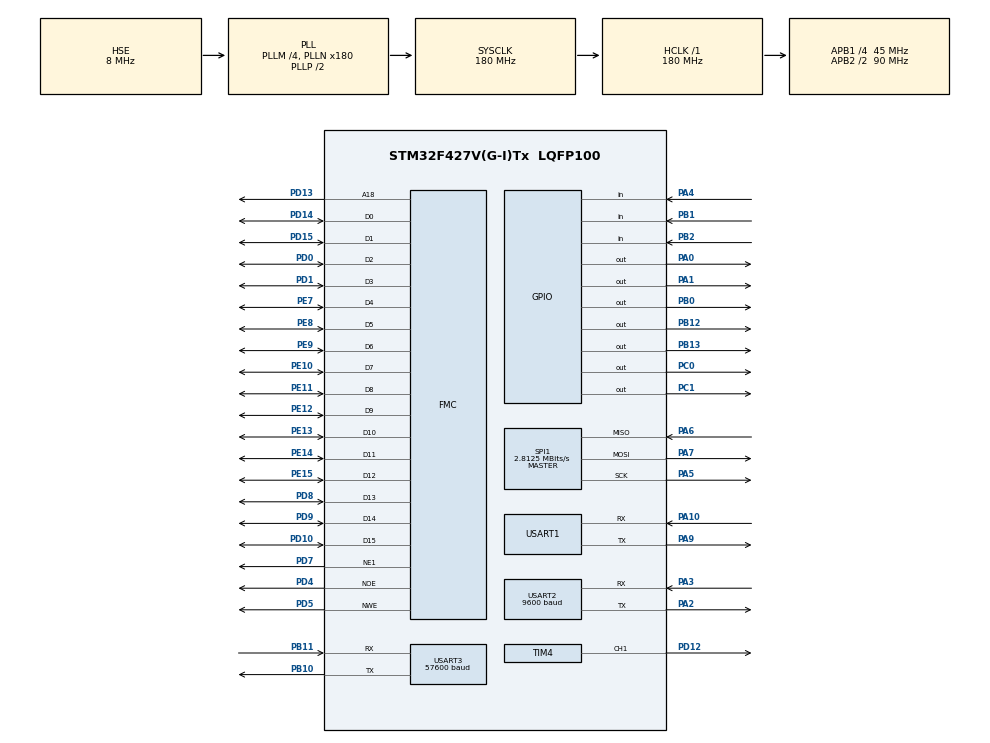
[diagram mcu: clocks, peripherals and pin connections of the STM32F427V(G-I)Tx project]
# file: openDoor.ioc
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Dma.Request0=USART2_TX
Dma.Request1=USART2_RX
Dma.USART2_RX.1.Direction=DMA_PERIPH_TO_MEMORY
Dma.USART2_RX.1.FIFOMode=DMA_FIFOMODE_DISABLE
Dma.USART2_RX.1.Instance=DMA1_Stream5
Dma.USART2_RX.1.MemDataAlignment=DMA_MDATAALIGN_BYTE
Dma.USART2_RX.1.MemInc=DMA_MINC_ENABLE
Dma.USART2_RX.1.Mode=DMA_NORMAL
Dma.USART2_RX.1.PeriphDataAlignment=DMA_PDATAALIGN_BYTE
Dma.USART2_RX.1.PeriphInc=DMA_PINC_DISABLE
Dma.USART2_RX.1.Priority=DMA_PRIORITY_LOW
Dma.USART2_TX.0.Direction=DMA_MEMORY_TO_PERIPH
Dma.USART2_TX.0.FIFOMode=DMA_FIFOMODE_DISABLE
Dma.USART2_TX.0.Instance=DMA1_Stream6
Dma.USART2_TX.0.MemDataAlignment=DMA_MDATAALIGN_BYTE
Dma.USART2_TX.0.MemInc=DMA_MINC_ENABLE
Dma.USART2_TX.0.Mode=DMA_NORMAL
Dma.USART2_TX.0.PeriphDataAlignment=DMA_PDATAALIGN_BYTE
Dma.USART2_TX.0.PeriphInc=DMA_PINC_DISABLE
Dma.USART2_TX.0.Priority=DMA_PRIORITY_LOW
FMC.AddressSetupTime1=4
FMC.BusTurnAroundDuration1=4
FMC.DataSetupTime1=4
Mcu.Family=STM32F4
Mcu.Name=STM32F427V(G-I)Tx
Mcu.Package=LQFP100
NVIC.DMA1_Stream5_IRQn=true\:0\:0\:false\:false\:true\:false\:true\:true
NVIC.DMA1_Stream6_IRQn=true\:0\:0\:false\:false\:true\:false\:true\:true
NVIC.PriorityGroup=NVIC_PRIORITYGROUP_4
NVIC.TIM2_IRQn=true\:0\:0\:false\:false\:true\:true\:true\:true
NVIC.USART1_IRQn=true\:0\:0\:false\:false\:true\:true\:true\:true
NVIC.USART2_IRQn=true\:0\:0\:false\:false\:true\:true\:true\:true
NVIC.USART3_IRQn=true\:0\:0\:false\:false\:true\:true\:true\:true
PA0/WKUP.Signal=GPIO_Output
PA1.PinState=GPIO_PIN_SET
PA1.Signal=GPIO_Output
PA10.Mode=Asynchronous
PA10.Signal=USART1_RX
PA13.Mode=Serial_Wire
PA13.Signal=SYS_JTMS-SWDIO
PA14.Mode=Serial_Wire
PA14.Signal=SYS_JTCK-SWCLK
PA2.Mode=Asynchronous
PA2.Signal=USART2_TX
PA3.Mode=Asynchronous
PA3.Signal=USART2_RX
PA4.GPIO_PuPd=GPIO_PULLUP
PA4.Signal=GPIO_Input
PA5.Mode=Full_Duplex_Master
PA5.Signal=SPI1_SCK
PA6.Mode=Full_Duplex_Master
PA6.Signal=SPI1_MISO
PA7.Mode=Full_Duplex_Master
PA7.Signal=SPI1_MOSI
PA9.Mode=Asynchronous
PA9.Signal=USART1_TX
PB0.GPIO_Speed=GPIO_SPEED_FREQ_VERY_HIGH
PB0.Signal=GPIO_Output
PB1.GPIO_PuPd=GPIO_PULLUP
PB1.Signal=GPIO_Input
PB10.Mode=Asynchronous
PB10.Signal=USART3_TX
PB11.Mode=Asynchronous
PB11.Signal=USART3_RX
PB12.Signal=GPIO_Output
PB13.Signal=GPIO_Output
PB2/BOOT1.GPIO_PuPd=GPIO_PULLUP
PB2/BOOT1.Signal=GPIO_Input
PC0.GPIO_Speed=GPIO_SPEED_FREQ_HIGH
PC0.PinState=GPIO_PIN_SET
PC0.Signal=GPIO_Output
PC1.GPIO_Speed=GPIO_SPEED_FREQ_HIGH
PC1.PinState=GPIO_PIN_SET
PC1.Signal=GPIO_Output
PD0.Mode=16b-d1
PD0.Signal=FMC_D2
PD1.Mode=16b-d1
PD1.Signal=FMC_D3
PD10.Mode=16b-d1
PD10.Signal=FMC_D15
PD12.Signal=S_TIM4_CH1
PD13.Mode=A18_1
PD13.Signal=FMC_A18
PD14.Mode=16b-d1
PD14.Signal=FMC_D0
PD15.Mode=16b-d1
PD15.Signal=FMC_D1
PD4.Mode=Lcd1
PD4.Signal=FMC_NOE
PD5.Mode=Lcd1
PD5.Signal=FMC_NWE
PD7.Mode=NorPsramChipSelect1_1
PD7.Signal=FMC_NE1
PD8.Mode=16b-d1
PD8.Signal=FMC_D13
PD9.Mode=16b-d1
PD9.Signal=FMC_D14
PE10.Mode=16b-d1
PE10.Signal=FMC_D7
PE11.Mode=16b-d1
PE11.Signal=FMC_D8
PE12.Mode=16b-d1
PE12.Signal=FMC_D9
PE13.Mode=16b-d1
PE13.Signal=FMC_D10
PE14.Mode=16b-d1
PE14.Signal=FMC_D11
PE15.Mode=16b-d1
PE15.Signal=FMC_D12
PE7.Mode=16b-d1
PE7.Signal=FMC_D4
PE8.Mode=16b-d1
PE8.Signal=FMC_D5
PE9.Mode=16b-d1
PE9.Signal=FMC_D6
PH0/OSC_IN.Mode=HSE-External-Oscillator
PH0/OSC_IN.Signal=RCC_OSC_IN
PH1/OSC_OUT.Mode=HSE-External-Oscillator
PH1/OSC_OUT.Signal=RCC_OSC_OUT
ProjectManager.HeapSize=0x200
ProjectManager.StackSize=0x400
ProjectManager.TargetToolchain=STM32CubeIDE
RCC.48MHZClocksFreq_Value=90000000
RCC.AHBFreq_Value=180000000
RCC.APB1CLKDivider=RCC_HCLK_DIV4
RCC.APB1Freq_Value=45000000
RCC.APB1TimFreq_Value=90000000
RCC.APB2CLKDivider=RCC_HCLK_DIV2
RCC.APB2Freq_Value=90000000
RCC.APB2TimFreq_Value=180000000
RCC.CortexFreq_Value=180000000
RCC.HCLKFreq_Value=180000000
RCC.HSE_VALUE=8000000
RCC.HSI_VALUE=16000000
RCC.LSE_VALUE=32768
RCC.PLLM=4
RCC.PLLN=180
RCC.PLLSourceVirtual=RCC_PLLSOURCE_HSE
RCC.SYSCLKFreq_VALUE=180000000
RCC.SYSCLKSource=RCC_SYSCLKSOURCE_PLLCLK
RCC.VCOOutputFreq_Value=360000000
SH.S_TIM4_CH1.0=TIM4_CH1,PWM Generation1 CH1
SPI1.BaudRatePrescaler=SPI_BAUDRATEPRESCALER_32
SPI1.CalculateBaudRate=2.8125 MBits/s
SPI1.Direction=SPI_DIRECTION_2LINES
SPI1.Mode=SPI_MODE_MASTER
SPI1.VirtualType=VM_MASTER
TIM2.Period=9000-1
TIM2.Prescaler=10-1
TIM4.Channel-PWM\ Generation1\ CH1=TIM_CHANNEL_1
TIM4.Period=200-1
TIM4.Prescaler=9000-1
USART1.VirtualMode=VM_ASYNC
USART2.BaudRate=9600
USART2.VirtualMode=VM_ASYNC
USART3.BaudRate=57600
USART3.VirtualMode=VM_ASYNC
VP_TIM2_VS_ClockSourceINT.Mode=Internal
VP_TIM4_VS_ClockSourceINT.Mode=Internal
board=custom

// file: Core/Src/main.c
/* USER CODE BEGIN Header */
/**
  ******************************************************************************
  * @file           : main.c
  * @brief          : Main program body
  ******************************************************************************
  * @attention
  *
  * <h2><center>&copy; Copyright (c) 2023 STMicroelectronics.
  * All rights reserved.</center></h2>
  *
  * This software component is licensed by ST under BSD 3-Clause license,
  * the "License"; You may not use this file except in compliance with the
  * License. You may obtain a copy of the License at:
  *                        opensource.org/licenses/BSD-3-Clause
  *
  ******************************************************************************
  */
/* USER CODE END Header */
#include "main.h"
#include "dma.h"
#include "spi.h"
#include "tim.h"
#include "usart.h"
#include "gpio.h"
#include "fmc.h"

/* USER CODE BEGIN Includes */
#include "lcd.h"
#include "touch.h"
#include "Scheduler.h"
#include "ui.h"
#include "usartMy.h"
#include "delay.h"
#include "as608.h"
#include "string.h"
#include "stdio.h"
#include "RC522.h"
#include "funHandle.h"
/* USER CODE END Includes */

void SystemClock_Config(void);

int main(void)
{
  /* USER CODE BEGIN 1 */
    uint8_t readUid[5];
    uint8_t UID[5] = {0xFB, 0x29, 0x0B, 0x0A};//自己的卡号，可以通过串口打印通过下面读取到的打印到上位机，再把那个读取的卡号填入数组
  /* USER CODE END 1 */

  /* MCU Configuration--------------------------------------------------------*/

  /* Reset of all peripherals, Initializes the Flash interface and the Systick. */
  HAL_Init();

  /* USER CODE BEGIN Init */
    delay_init(180);                                    //systick初始化
  /* USER CODE END Init */

  /* Configure the system clock */
  SystemClock_Config();

  /* Initialize all configured peripherals */
  MX_GPIO_Init();
  MX_DMA_Init();
  MX_TIM2_Init();
  MX_USART1_UART_Init();
  MX_USART3_UART_Init();
  MX_USART2_UART_Init();
  MX_FMC_Init();
  MX_SPI1_Init();
  MX_TIM4_Init();
  /* USER CODE BEGIN 2 */

    /* USER CODE BEGIN 2 */

    //usart_printf(&huart1, "AS608指纹模块测试开始\r\n");
    HAL_GPIO_WritePin(GPIOA, GPIO_PIN_1, GPIO_PIN_RESET);
    HAL_TIM_Base_Start_IT(&htim2); //1ms
    //开启通道1
    HAL_TIM_PWM_Start(&htim4, TIM_CHANNEL_1);
    //舵机初始化
    TIM4->CCR1 = 10;
    HAL_UART_Receive_IT(&huart1, (uint8_t *) &huart1_buf, 1);
    HAL_UART_Receive_DMA(&huart2, (uint8_t *) &huart2_buf, 1);
    HAL_UART_Receive_IT(&huart3, (uint8_t *) &huart3_buf, 1);
    LCD_Init();      //LCD初始化
    LCD_Clear(WHITE);//清屏 LIGHTGREEN
    tp_dev.init();     //触摸屏初始化
    Scheduler_Setup();      //调度器初始化

    if (!as608_init()) {
        // usart_printf(&huart1, "AS608指纹模块初始化成功\r\n");
        LCD_ShowString(50, 20, (uint8_t *) "指纹模块初始化成功", RED, WHITE); //显示清屏区域
    } else {
        LCD_Fill(0, 20, 240, 40, WHITE);
        //usart_printf(&huart1, "AS608指纹模块初始化失败\r\n");
        LCD_ShowString(50, 20, (uint8_t *) "指纹模块初始化失败", RED, WHITE); //显示清屏区域
    }
    delay_ms(1000);
    RC522_Init();  //初始化RC522
    usart_printf(&DEBUG_UART, "RC522初始化完成\r\n");
    LCD_Clear(WHITE);//清屏 LIGHTGREEN
    LCD_AS608_UI();
    LCD_RC522_UI();
    AS608_load_keyboard(0, 170, (uint8_t **) kbd_menu); //加载虚拟键盘
    //LCD_show();

    /* USER CODE END 2 */

    /* Infinite loop */
    while (1) {

    /* USER CODE BEGIN 3 */
        Scheduler_Run();
    }

  /* USER CODE END 3 */
}

void SystemClock_Config(void)
{
  RCC_OscInitTypeDef RCC_OscInitStruct = {0};
  RCC_ClkInitTypeDef RCC_ClkInitStruct = {0};

  /** Configure the main internal regulator output voltage
  */
  __HAL_RCC_PWR_CLK_ENABLE();
  __HAL_PWR_VOLTAGESCALING_CONFIG(PWR_REGULATOR_VOLTAGE_SCALE1);

  /** Initializes the RCC Oscillators according to the specified parameters
  * in the RCC_OscInitTypeDef structure.
  */
  RCC_OscInitStruct.OscillatorType = RCC_OSCILLATORTYPE_HSE;
  RCC_OscInitStruct.HSEState = RCC_HSE_ON;
  RCC_OscInitStruct.PLL.PLLState = RCC_PLL_ON;
  RCC_OscInitStruct.PLL.PLLSource = RCC_PLLSOURCE_HSE;
  RCC_OscInitStruct.PLL.PLLM = 4;
  RCC_OscInitStruct.PLL.PLLN = 180;
  RCC_OscInitStruct.PLL.PLLP = RCC_PLLP_DIV2;
  RCC_OscInitStruct.PLL.PLLQ = 4;
  if (HAL_RCC_OscConfig(&RCC_OscInitStruct) != HAL_OK)
  {
    Error_Handler();
  }

  /** Activate the Over-Drive mode
  */
  if (HAL_PWREx_EnableOverDrive() != HAL_OK)
  {
    Error_Handler();
  }

  /** Initializes the CPU, AHB and APB buses clocks
  */
  RCC_ClkInitStruct.ClockType = RCC_CLOCKTYPE_HCLK|RCC_CLOCKTYPE_SYSCLK
                              |RCC_CLOCKTYPE_PCLK1|RCC_CLOCKTYPE_PCLK2;
  RCC_ClkInitStruct.SYSCLKSource = RCC_SYSCLKSOURCE_PLLCLK;
  RCC_ClkInitStruct.AHBCLKDivider = RCC_SYSCLK_DIV1;
  RCC_ClkInitStruct.APB1CLKDivider = RCC_HCLK_DIV4;
  RCC_ClkInitStruct.APB2CLKDivider = RCC_HCLK_DIV2;

  if (HAL_RCC_ClockConfig(&RCC_ClkInitStruct, FLASH_LATENCY_5) != HAL_OK)
  {
    Error_Handler();
  }
}

void Error_Handler(void)
{
    __disable_irq();
    while (1) {
    }
}
